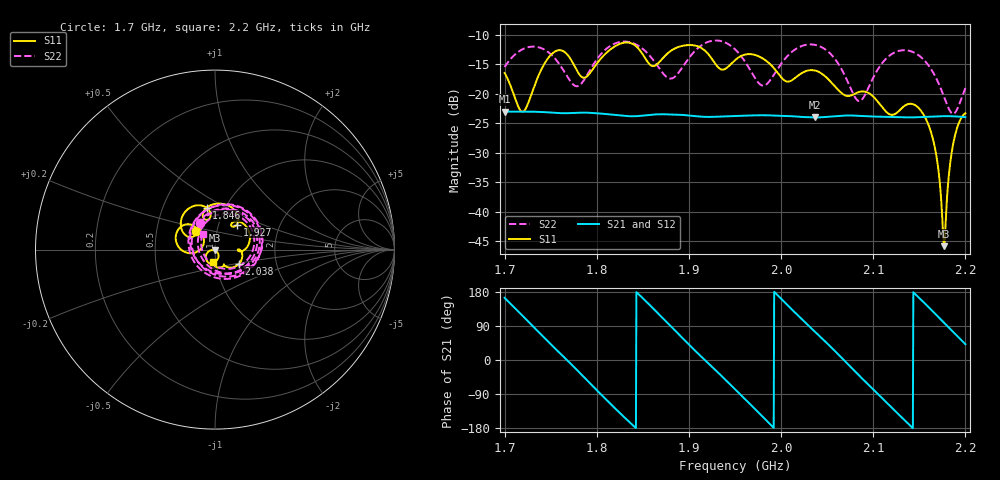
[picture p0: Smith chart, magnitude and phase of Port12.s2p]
# Hz S RI R 50
! CMT, CMT808U, 21440046, 21.4.3/4
! Date: 6/12/2026 9:36:14 AM
! Data: Format (Calibration Info)
! Freq	S11:Re/Im(F2)	S41:Re/Im(F2)	S14:Re/Im(F2)	S44:Re/Im(F2)
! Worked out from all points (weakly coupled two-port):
!   1001 points, 1.7 GHz to 2.2 GHz, reference 50 ohm
!   highest |S21| = -23.02 dB at 1.7 GHz (marker M1); lowest = -24.0 dB at 2.037 GHz (marker M2)
!   lowest |S11| = -45.8 dB at 2.177 GHz (marker M3), VSWR 1.01, Z = 49.9 - j0.493 ohm
!   |S11| at or under -10 dB: start of sweep to end of sweep
!   |S22| runs from -23.4 to -11.0 dB; largest |S21 - S12| = 0.0012
!   S11 on the Smith chart (normalised r, x): 1.7 GHz: 0.79, +0.17; 1.846 GHz: 0.82, +0.41; 1.927 GHz: 1.22, +0.35; 2.038 GHz: 1.29, -0.21; 2.2 GHz: 0.97, -0.13
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1.7e9  -0.1086 0.1035  -0.0679 0.0195  -0.0678 0.0185  -0.0829 0.1464
1.72e9  -0.0668 0.0224  -0.0303 0.0636  -0.0311 0.0628  0.0991 0.2178
1.7425e9  -0.1752 -0.00969  0.0348 0.0606  0.0338 0.0608  0.235 0.0385
1.762e9  -0.2012 0.1163  0.0665 0.0157  0.0659 0.0167  0.1059 -0.1281
1.7835e9  -0.1041 0.0922  0.0541 -0.0432  0.0545 -0.0422  -0.118 -0.0326
1.815e9  -0.1909 0.1419  -0.0293 -0.0599  -0.0282 -0.0602  0.0533 0.2494
1.846e9  -0.0461 0.2329  -0.0642 0.00873  -0.0641 0.0077  0.2517 -0.0209
1.867e9  -0.0611 0.1718  -0.0351 0.057  -0.0358 0.0562  0.0395 -0.1628
1.893e9  0.000292 0.2545  0.0355 0.0558  0.0344 0.0562  -0.1434 0.0871
1.9275e9  0.1215 0.139  0.0584 -0.0255  0.0587 -0.0244  0.2064 0.1926
1.95e9  0.1114 0.1569  0.0145 -0.0632  0.0156 -0.0627  0.2294 -0.0637
1.99e9  0.172 0.00562  -0.0651 -0.00678  -0.0648 -0.0079  -0.1295 0.0431
2.0335e9  0.1468 -0.0593  0.00864 0.0624  0.00748 0.0625  0.2286 0.1268
2.0365e9  0.1404 -0.0712  0.0161 0.0609  0.015 0.0611  0.241 0.0965
2.0385e9  0.1347 -0.0785  0.0209 0.0594  0.0198 0.0597  0.2462 0.0753
2.0845e9  0.0434 -0.0939  0.0494 -0.0422  0.0501 -0.0412  -0.0753 -0.0428
2.117e9  -0.00582 -0.0671  -0.0302 -0.056  -0.0292 -0.0564  0.0545 0.201
2.157e9  -0.0505 -0.0351  -0.0533 0.0348  -0.0539 0.0338  0.1752 -0.0621
2.168e9  -0.0307 -0.00707  -0.0324 0.0555  -0.0333 0.0548  0.0858 -0.1066
2.177e9  -0.00128 -0.00494  -0.00916 0.0639  -0.0103 0.0636  0.0047 -0.0933
2.1865e9  0.0197 -0.031  0.017 0.0621  0.0159 0.0623  -0.0586 -0.0339
2.2e9  -0.012 -0.0673  0.0473 0.0421  0.0464 0.0429  -0.069 0.0878
